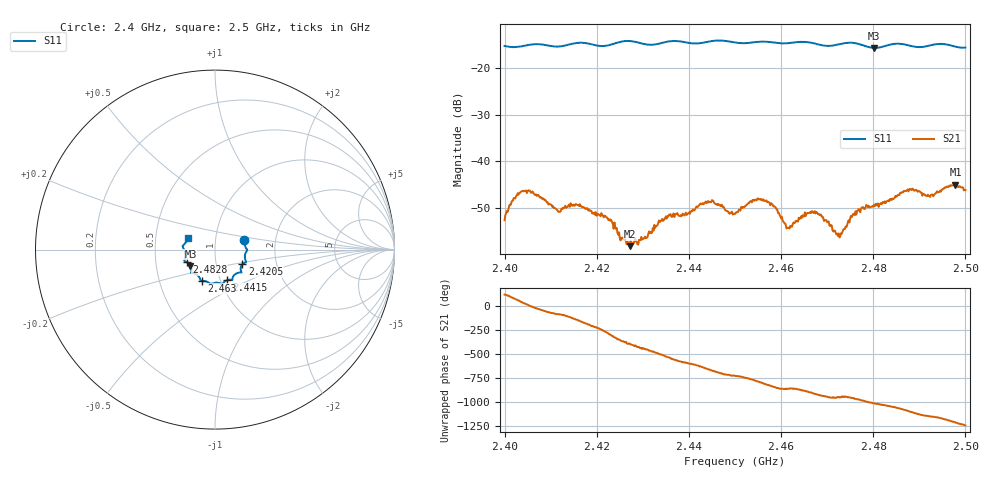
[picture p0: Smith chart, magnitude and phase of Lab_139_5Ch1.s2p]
# Hz S RI R 50
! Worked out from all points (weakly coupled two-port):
!   601 points, 2.4 GHz to 2.5 GHz, reference 50 ohm
!   highest |S21| = -45.02 dB at 2.4978 GHz (marker M1); lowest = -58.2 dB at 2.4272 GHz (marker M2)
!   lowest |S11| = -15.7 dB at 2.4802 GHz (marker M3), VSWR 1.39, Z = 37.4 - j6.98 ohm
!   |S11| at or under -10 dB: start of sweep to end of sweep
!   S12 and S22 are empty: the file has one direction only
!   S11 on the Smith chart (normalised r, x): 2.4 GHz: 1.38, +0.15; 2.4205 GHz: 1.34, -0.23; 2.4415 GHz: 1.07, -0.38; 2.463 GHz: 0.82, -0.29; 2.4828 GHz: 0.72, -0.10; 2.5 GHz: 0.73, +0.10
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2.4e9  0.1639 0.052  -0.00115 0.00203  0 0  0 0
2.404167e9  0.1725 0.00866  0.00412 0.00237  0 0  0 0
2.411667e9  0.1666 -0.0331  0.000344 -0.00285  0 0  0 0
2.416667e9  0.173 -0.0699  -0.00314 -0.000982  0 0  0 0
2.4205e9  0.1521 -0.0817  -0.00162 0.00211  0 0  0 0
2.427167e9  0.1471 -0.1273  0.00106 -0.00062  0 0  0 0
2.433333e9  0.1002 -0.1514  -0.00146 -0.00162  0 0  0 0
2.4415e9  0.0658 -0.1709  -0.00101 0.003  0 0  0 0
2.445e9  0.0432 -0.1897  0.00238 0.00299  0 0  0 0
2.45e9  0.0241 -0.1862  0.00273 -0.000142  0 0  0 0
2.455333e9  -0.0182 -0.1905  0.00135 -0.00368  0 0  0 0
2.458333e9  -0.0339 -0.1848  -0.00154 -0.00289  0 0  0 0
2.461333e9  -0.0592 -0.1745  -0.00149 -0.00123  0 0  0 0
2.463e9  -0.0721 -0.1738  -0.00165 -0.00143  0 0  0 0
2.466667e9  -0.0821 -0.167  -0.0029 2.09e-05  0 0  0 0
2.4725e9  -0.1229 -0.1305  -0.00122 0.00116  0 0  0 0
2.475667e9  -0.134 -0.129  -0.0015 0.00228  0 0  0 0
2.480167e9  -0.1367 -0.0908  0.00123 0.00317  0 0  0 0
2.482833e9  -0.1587 -0.0702  0.00251 0.00268  0 0  0 0
2.483333e9  -0.1625 -0.0683  0.00287 0.00251  0 0  0 0
2.497833e9  -0.1651 0.0371  -0.00355 -0.00434  0 0  0 0
2.5e9  -0.1527 0.0643  -0.0046 -0.0017  0 0  0 0
